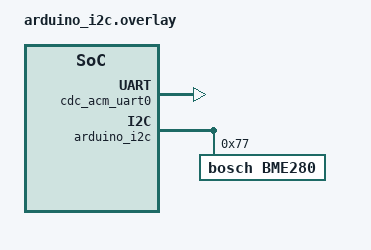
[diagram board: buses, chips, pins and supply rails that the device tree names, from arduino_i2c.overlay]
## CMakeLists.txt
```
cmake_minimum_required(VERSION 3.20.0)

find_package(Zephyr)
project(ZephyrTempSensor)

target_sources(app PRIVATE src/main.c)
```

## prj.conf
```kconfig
CONFIG_SENSOR=y
CONFIG_USB_DEVICE_STACK=y
CONFIG_USB_DEVICE_PRODUCT="Zephyr USB console sample"
CONFIG_USB_DEVICE_PID=0x0004

CONFIG_SERIAL=y
CONFIG_CONSOLE=y
CONFIG_UART_CONSOLE=y
CONFIG_UART_LINE_CTRL=y

CONFIG_BT=y
CONFIG_BT_PERIPHERAL=y
CONFIG_BT_SMP=y
CONFIG_TINYCRYPT=y
CONFIG_BT_DEVICE_NAME="BMP280 peripheral"
CONFIG_BT_DIS=y
CONFIG_BT_DIS_PNP=n
CONFIG_BT_BAS=y
CONFIG_BT_DEVICE_APPEARANCE=768
```

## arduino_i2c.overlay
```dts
/*
 * Copyright (c) 2020, Nordic Semiconductor ASA
 *
 * SPDX-License-Identifier: Apache-2.0
 */

/*
 * Example configuration of a BME280 device on an Arduino I2C bus.
 *
 * Device address 0x77 is assumed. Your device may have a different
 * address; check your device documentation if unsure.
 */


  / {
	chosen {
		zephyr,console = &cdc_acm_uart0;
	};
};

&zephyr_udc0 {
	cdc_acm_uart0: cdc_acm_uart0 {
		compatible = "zephyr,cdc-acm-uart";
	};
};

&arduino_i2c {
	status = "okay";
	bme280@77 {
		compatible = "bosch,bme280";
		reg = <0x77>;
	};
};
```

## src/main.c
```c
#include <zephyr/kernel.h>
#include <zephyr/device.h>
#include <zephyr/devicetree.h>
#include <zephyr/drivers/sensor.h>
#include <zephyr/sys/printk.h>
#include <zephyr/usb/usb_device.h>
#include <zephyr/usb/usbd.h>
#include <zephyr/drivers/uart.h>

#include <stdbool.h>
#include <zephyr/types.h>
#include <stddef.h>
#include <string.h>
#include <errno.h>
#include <zephyr/sys/byteorder.h>

#include <zephyr/bluetooth/bluetooth.h>
#include <zephyr/bluetooth/hci.h>
#include <zephyr/bluetooth/conn.h>
#include <zephyr/bluetooth/uuid.h>
#include <zephyr/bluetooth/gatt.h>
#include <zephyr/bluetooth/services/bas.h>

#define SENSOR_1_NAME				"Temperature Sensor 1"

#define SENSOR_3_NAME				"Pressure Sensor"


/* ESS error definitions */
#define ESS_ERR_WRITE_REJECT			0x80 //error code that is returned when a write operation is rejected
#define ESS_ERR_COND_NOT_SUPP			0x81 //error code that is returned when a condition is not supported


BUILD_ASSERT(DT_NODE_HAS_COMPAT(DT_CHOSEN(zephyr_console), zephyr_cdc_acm_uart),
	     "Console device is not ACM CDC UART device");

static const struct device *get_bme280_device(void)
{
	const struct device *const dev = DEVICE_DT_GET_ANY(bosch_bme280);

	if (dev == NULL) {
		/* No such node, or the node does not have status "okay". */
		printk("\nError: no device found.\n");
		return NULL;
	}

	if (!device_is_ready(dev)) {
		printk("\nError: Device \"%s\" is not ready; "
		       "check the driver initialization logs for errors.\n",
		       dev->name);
		return NULL;
	}

	printk("Found device \"%s\", getting sensor data\n", dev->name);
	return dev;
}

static ssize_t read_u16(struct bt_conn *conn, const struct bt_gatt_attr *attr,
			void *buf, uint16_t len, uint16_t offset)
{
	const uint16_t *u16 = attr->user_data;
	uint16_t value = sys_cpu_to_le16(*u16);

	return bt_gatt_attr_read(conn, attr, buf, len, offset, &value,sizeof(value));
}

static ssize_t read_u32(struct bt_conn *conn, const struct bt_gatt_attr *attr,
			void *buf, uint16_t len, uint16_t offset)
{
	const uint32_t *u32 = attr->user_data;
	uint32_t value = sys_cpu_to_le32(*u32);

	return bt_gatt_attr_read(conn, attr, buf, len, offset, &value,sizeof(value));
}

/* Environmental Sensing Service Declaration */

struct temperature_sensor {
	int16_t temp_value;	
	};

struct pressure_sensor {
	uint32_t press_value;
	
};

static struct temperature_sensor sensor_1 = {
		.temp_value = 2115,
};

static struct pressure_sensor sensor_3 = {
		.press_value = 6322,		
};

static void temp_ccc_cfg_changed(const struct bt_gatt_attr *attr,
				 uint16_t value)
{
	printk("temp_ccc_cfg_changed\n");
}

static void press_ccc_cfg_changed(const struct bt_gatt_attr *attr,
				 uint16_t value)
{
	printk("press_ccc_cfg_changed\n");
}


static void update_temperature(struct bt_conn *conn,
			       const struct bt_gatt_attr *chrc, int32_t value,
			       struct temperature_sensor *sensor)
{
	/* Update temperature value */
	sensor->temp_value = value;
		
	value = sys_cpu_to_le16(sensor->temp_value);

	bt_gatt_notify(conn, chrc, &value, sizeof(value));
}

static void update_preassure(struct bt_conn *conn,
			       const struct bt_gatt_attr *chrc, int32_t value,
			       struct pressure_sensor *sensor)
{
	/* Update temperature value */
	sensor->press_value = (uint32_t)value;
		
	value = sys_cpu_to_le32(sensor->press_value);

	bt_gatt_notify(conn, chrc, &value, sizeof(value));
}
BT_GATT_SERVICE_DEFINE(ess_svc,
	//gatt_attrb_indx = 0
	BT_GATT_PRIMARY_SERVICE(BT_UUID_ESS), 				

	/* Temperature Sensor */ //gatt_attrb_indx = 1 & 2
	BT_GATT_CHARACTERISTIC(BT_UUID_TEMPERATURE, 		
			       BT_GATT_CHRC_READ | BT_GATT_CHRC_NOTIFY,
			       BT_GATT_PERM_READ,
			       read_u16, NULL, &sensor_1.temp_value),
	//gatt_attrb_indx = 3
	BT_GATT_CCC(temp_ccc_cfg_changed, 					
		    	   BT_GATT_PERM_READ | BT_GATT_PERM_WRITE),
	//gatt_attrb_indx = 4
	BT_GATT_CUD(SENSOR_1_NAME, BT_GATT_PERM_READ), 		
		
	/* Preassure Sensor */	//gatt_attrb_indx = 5 & 6
	BT_GATT_CHARACTERISTIC(BT_UUID_PRESSURE, 			
			       BT_GATT_CHRC_READ | BT_GATT_CHRC_NOTIFY,
			       BT_GATT_PERM_READ,
			       read_u32, NULL, &sensor_3.press_value),
    //gatt_attrb_indx = 7
	BT_GATT_CCC(press_ccc_cfg_changed,					
		   		   BT_GATT_PERM_READ | BT_GATT_PERM_WRITE), 
	//gatt_attrb_indx = 8
	BT_GATT_CUD(SENSOR_3_NAME, BT_GATT_PERM_READ), 	  
);

static const struct bt_data ad[] = {
	BT_DATA_BYTES(BT_DATA_FLAGS, (BT_LE_AD_GENERAL | BT_LE_AD_NO_BREDR)),
	BT_DATA_BYTES(BT_DATA_GAP_APPEARANCE, 0x00, 0x03),
	BT_DATA_BYTES(BT_DATA_UUID16_ALL,
		      BT_UUID_16_ENCODE(BT_UUID_ESS_VAL),),
};

static void connected(struct bt_conn *conn, uint8_t err)
{
	if (err) {
		printk("Connection failed (err 0x%02x)\n", err);
	} else {
		printk("Connected\n");
	}
}

static void disconnected(struct bt_conn *conn, uint8_t reason)
{
	printk("Disconnected (reason 0x%02x)\n", reason);
}

BT_CONN_CB_DEFINE(conn_callbacks) = {
	.connected = connected,
	.disconnected = disconnected,
};

static void bt_ready(void)
{
	int err;

	printk("Bluetooth initialized\n");

	err = bt_le_adv_start(BT_LE_ADV_CONN_NAME, ad, ARRAY_SIZE(ad), NULL, 0);
	if (err) {
		printk("Advertising failed to start (err %d)\n", err);
		return;
	}

	printk("Advertising successfully started\n");
}

static void auth_passkey_display(struct bt_conn *conn, unsigned int passkey)
{
	char addr[BT_ADDR_LE_STR_LEN];

	bt_addr_le_to_str(bt_conn_get_dst(conn), addr, sizeof(addr));

	printk("Passkey for %s: %06u\n", addr, passkey);
}

static void auth_cancel(struct bt_conn *conn)
{
	char addr[BT_ADDR_LE_STR_LEN];

	bt_addr_le_to_str(bt_conn_get_dst(conn), addr, sizeof(addr));

	printk("Pairing cancelled: %s\n", addr);
}

static struct bt_conn_auth_cb auth_cb_display = {
	.passkey_display = auth_passkey_display,
	.passkey_entry = NULL,
	.cancel = auth_cancel,
};

void main(void)
{
	/*Serial*/
	const struct device *const dev2 = DEVICE_DT_GET(DT_CHOSEN(zephyr_console));
	uint32_t dtr = 0;

	if (usb_enable(NULL)) {
		return;
	}

	//while (!dtr) {
		uart_line_ctrl_get(dev2, UART_LINE_CTRL_DTR, &dtr);
		/* Give CPU resources to low priority threads. */
	//	k_sleep(K_MSEC(100));
	//}

	/*BMP280*/
	const struct device *dev = get_bme280_device();
	if (dev == NULL) {
		printk("BMP init failed\n");
		return;
	}

	/*BLE*/
	int err;
	err = bt_enable(NULL);
	if (err) {
		printk("Bluetooth init failed (err %d)\n", err);
		return;
	}

	bt_ready();
	bt_conn_auth_cb_register(&auth_cb_display);
	struct sensor_value temp, press;

	while (1) {
		
		sensor_sample_fetch(dev);
		sensor_channel_get(dev, SENSOR_CHAN_AMBIENT_TEMP, &temp);
		sensor_channel_get(dev, SENSOR_CHAN_PRESS, &press);
		
		/* Temperature Sensor */ //gatt_attrb_indx = 1 & 2
		update_temperature(NULL, &ess_svc.attrs[2], 
						temp.val1 * 100 + temp.val2 / 10000, 
						&sensor_1);

		/* Preassure Sensor */	//gatt_attrb_indx = 5 & 6
		update_preassure(NULL, &ess_svc.attrs[6],
						press.val1 * 10000 + press.val2 / 100,
		 				&sensor_3);
		
		printk("temp: %d.%06d; press: %d.%06d;\n",temp.val1, temp.val2, press.val1, press.val2);
		
		k_sleep(K_MSEC(1000));
	}
}
```
